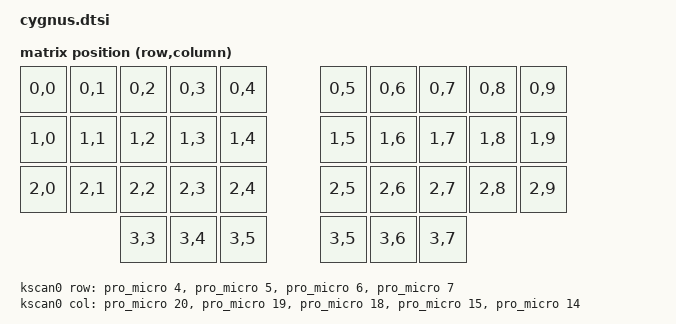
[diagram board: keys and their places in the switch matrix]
#include <dt-bindings/zmk/matrix_transform.h>
#include "cygnus_layout.dtsi"

&cygnus_layout {
    transform = <&default_transform>;
};

/ {
    chosen {
        zmk,kscan = &kscan0;
        zmk,matrix-transform = &cygnus_layout;
    };

    aliases {
        led-red = &led0;
        led-green = &led1;
        led-blue = &led2;
    };

    leds {
        compatible = "gpio-leds";
        status = "okay";
        led0: led_0 {
            gpios = <&gpio0 17 GPIO_ACTIVE_LOW>;  // red LED, connected to P0.16
        };
        led1: led_1 {
            gpios = <&gpio0 8 GPIO_ACTIVE_LOW>;  // green LED, connected to P0.08
        };
        led2: led_2 {
            gpios = <&gpio0 6 GPIO_ACTIVE_LOW>;  // blue LED, connected to P0.06
        };
    };

    default_transform: keymap_transform_0 {
        compatible = "zmk,matrix-transform";
        columns = <10>;
        rows = <4>;
        
//  | SW5  | SW4  | SW3  | SW2  | SW1  |      | SW1  | SW2  | SW3  | SW4  | SW5  |
//  | SW10 | SW9  | SW8  | SW7  | SW6  |      | SW6  | SW7  | SW8  | SW9  | SW10 |
//  | SW15 | SW14 | SW13 | SW12 | SW11 |      | SW11 | SW12 | SW13 | SW14 | SW15 |
//                | SW18 | SW17 | SW16 |      | SW16 | SW17 | SW18 |
        map = <
    RC(0,0) RC(0,1) RC(0,2) RC(0,3) RC(0,4)     RC(0,5) RC(0,6) RC(0,7) RC(0,8) RC(0,9)
    RC(1,0) RC(1,1) RC(1,2) RC(1,3) RC(1,4)     RC(1,5) RC(1,6) RC(1,7) RC(1,8) RC(1,9)
    RC(2,0) RC(2,1) RC(2,2) RC(2,3) RC(2,4)     RC(2,5) RC(2,6) RC(2,7) RC(2,8) RC(2,9)
                    RC(3,3) RC(3,4) RC(3,5)     RC(3,5) RC(3,6) RC(3,7)
            
        >;
    };

    kscan0: kscan {
        compatible = "zmk,kscan-gpio-matrix";
        diode-direction = "col2row";
        wakeup-source;

        row-gpios
//            = <&pro_micro 3 (GPIO_ACTIVE_HIGH | GPIO_PULL_DOWN)> // Row A from the schematic file
            = <&pro_micro 4 (GPIO_ACTIVE_HIGH | GPIO_PULL_DOWN)> // Row B from the schematic file
            , <&pro_micro 5 (GPIO_ACTIVE_HIGH | GPIO_PULL_DOWN)> // Row C from the schematic file
            , <&pro_micro 6 (GPIO_ACTIVE_HIGH | GPIO_PULL_DOWN)> // Row D from the schematic file
            , <&pro_micro 7 (GPIO_ACTIVE_HIGH | GPIO_PULL_DOWN)> // Row E from the schematic file
            ;
        col-gpios
//        = <&pro_micro 21 GPIO_ACTIVE_HIGH> // col1 in the schematic
        = <&pro_micro 20 GPIO_ACTIVE_HIGH> // col2 in the schematic
        , <&pro_micro 19 GPIO_ACTIVE_HIGH> // col3 in the schematic
        , <&pro_micro 18 GPIO_ACTIVE_HIGH> // col4 in the schematic
        , <&pro_micro 15 GPIO_ACTIVE_HIGH> // col5 in the schematic
        , <&pro_micro 14 GPIO_ACTIVE_HIGH> // col6 in the schematic -- dont exist in 3x5
        ;

    };
};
